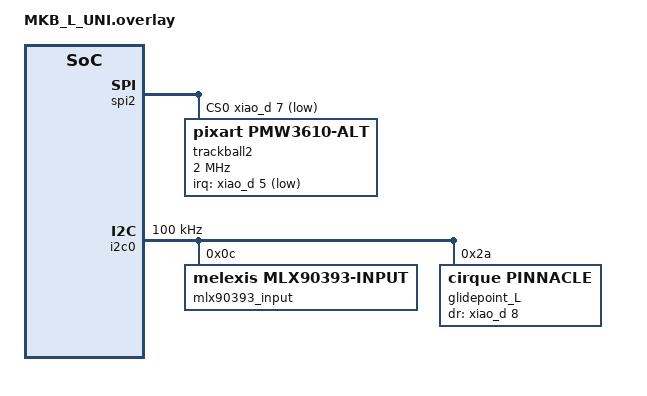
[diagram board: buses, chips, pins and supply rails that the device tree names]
#include <zephyr/dt-bindings/input/input-event-codes.h>
#include <input/processors.dtsi>
#include <dt-bindings/zmk/input_transform.h>
#include <dt-bindings/zmk/keys.h>
#include <dt-bindings/zmk/pointing.h>

&spi2 {
    status = "okay";
    compatible = "nordic,nrf-spim";
    cs-gpios = <&xiao_d 7 GPIO_ACTIVE_LOW>;

    trackball2: trackball2@0 {
        status = "okay";
        compatible = "pixart,pmw3610-alt";
        reg = <0>;
        spi-max-frequency = <2000000>;
        irq-gpios = <&xiao_d 5 (GPIO_ACTIVE_LOW | GPIO_PULL_UP)>;
        cpi = <800>;
        evt-type = <INPUT_EV_REL>;
        x-input-code = <INPUT_REL_X>;
        y-input-code = <INPUT_REL_Y>;
    };
};

&i2c0 {
    status = "okay";
    compatible = "nordic,nrf-twi";
    clock-frequency = <100000>;

    mlx90393_input: mlx90393-input@0c {
        compatible = "melexis,mlx90393-input";
        reg = <0x0c>;

        polling-interval-ms = <10>;
        z-press-threshold = <200>;
        x-hysteresis = <50>;
        y-hysteresis = <50>;
        z-hysteresis = <50>;

        scale-x = <1>;
        scale-y = <1>;

        deadzone-x = <100>;
        deadzone-y = <100>;
        deadzone-z = <300>;
        report-threshold-x = <3>;
        report-threshold-y = <3>;
        disable-wheel;
    };

    glidepoint_L: glidepoint_L@2a {
        compatible = "cirque,pinnacle";
        reg = <0x2a>;
        status = "okay";
        dr-gpios = <&xiao_d 8 (GPIO_ACTIVE_HIGH)>;

        sensitivity = "2x";
        no-taps;
    };
};

/ {
    trackball_listener2: trackball_listener2 {
        compatible = "zmk,input-listener";
        device = <&trackball2>;
        status = "okay";
        input-processors = <&zip_xy_transform INPUT_TRANSFORM_X_INVERT>,
                           <&zip_xy_to_scroll_mapper &scroll_runtime_input_processor>;
    };

    magnet_listener: magnet_listener {
        compatible = "zmk,input-listener";
        status = "okay";
        device = <&mlx90393_input>;
        move {
            layers = <0>;
            input-processors = <&zip_xy_to_scroll_mapper &scroll_runtime_input_processor>;
        };
    };

    glidepoint_listener: glidepoint_listener {
        compatible = "zmk,input-listener";
        status = "okay";
        device = <&glidepoint_L>;

        layer0 {
            layers = <0>;
            input-processors = <&zip_xy_transform (INPUT_TRANSFORM_XY_SWAP)>,
                               <&zip_xy_to_scroll_mapper &scroll_runtime_input_processor>;
        };
    };
};
